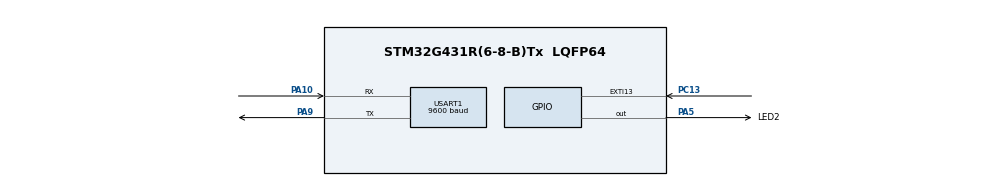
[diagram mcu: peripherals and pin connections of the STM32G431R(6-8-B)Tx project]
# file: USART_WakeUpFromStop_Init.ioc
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Mcu.Family=STM32G4
Mcu.Name=STM32G431R(6-8-B)Tx
Mcu.Package=LQFP64
NVIC.PriorityGroup=NVIC_PRIORITYGROUP_4
NVIC.USART1_IRQn=true\:0\:0\:false\:false\:true\:true\:true\:true
PA10.GPIO_PuPd=GPIO_PULLUP
PA10.GPIO_Speed=GPIO_SPEED_FREQ_HIGH
PA10.Mode=Asynchronous
PA10.Signal=USART1_RX
PA5.GPIO_Label=LED2
PA5.GPIO_PuPd=GPIO_NOPULL
PA5.Signal=GPIO_Output
PA9.GPIO_PuPd=GPIO_PULLUP
PA9.GPIO_Speed=GPIO_SPEED_FREQ_HIGH
PA9.Mode=Asynchronous
PA9.Signal=USART1_TX
PC13.Signal=GPXTI13
ProjectManager.HeapSize=0x200
ProjectManager.StackSize=0x400
ProjectManager.TargetToolchain=EWARM V8.32
RCC.ADC12Freq_Value=16000000
RCC.AHBFreq_Value=16000000
RCC.APB1Freq_Value=16000000
RCC.APB1TimFreq_Value=16000000
RCC.APB2Freq_Value=16000000
RCC.APB2TimFreq_Value=16000000
RCC.CortexFreq_Value=16000000
RCC.EXTERNAL_CLOCK_VALUE=12288000
RCC.HCLKFreq_Value=16000000
RCC.HSE_VALUE=24000000
RCC.HSI48_VALUE=48000000
RCC.HSI_VALUE=16000000
RCC.LPUART1CLockSelection=RCC_LPUART1CLKSOURCE_HSI
RCC.LSE_VALUE=32768
RCC.PLLM=RCC_PLLM_DIV4
RCC.PLLN=85
RCC.SYSCLKFreq_VALUE=16000000
RCC.UART4CLockSelection=RCC_UART4CLKSOURCE_HSI
RCC.USART1CLockSelection=RCC_USART1CLKSOURCE_HSI
RCC.USART2CLockSelection=RCC_USART2CLKSOURCE_HSI
RCC.USART3CLockSelection=RCC_USART3CLKSOURCE_HSI
RCC.USBFreq_Value=170000000
RCC.VCOOutputFreq_Value=340000000
USART1.AutoBaudRateEnableParam=UART_ADVFEATURE_AUTOBAUDRATE_DISABLE
USART1.BaudRate=9600
USART1.ClockPrescaler=PRESCALER_DIV1
USART1.DMADisableonRxErrorParam=ADVFEATURE_DMA_ENABLEONRXERROR
USART1.DataInvertParam=ADVFEATURE_DATAINV_DISABLE
USART1.FIFOMode=FIFOMODE_DISABLE
USART1.MSBFirstParam=ADVFEATURE_MSBFIRST_DISABLE
USART1.Mode=MODE_TX_RX
USART1.OneBitSampling=UART_ONE_BIT_SAMPLE_DISABLE
USART1.OverSampling=UART_OVERSAMPLING_16
USART1.OverrunDisableParam=ADVFEATURE_OVERRUN_ENABLE
USART1.Parity=PARITY_NONE
USART1.RXFIFOThreshold=RXFIFO_THRESHOLD_1EIGHTHFULL
USART1.RxPinLevelInvertParam=ADVFEATURE_RXINV_DISABLE
USART1.StopBits=STOPBITS_1
USART1.SwapParam=ADVFEATURE_SWAP_DISABLE
USART1.TXFIFOThreshold=TXFIFO_THRESHOLD_1EIGHTHFULL
USART1.TxPinLevelInvertParam=ADVFEATURE_TXINV_DISABLE
USART1.VirtualMode-Asynchronous=VM_ASYNC
USART1.WordLength=WORDLENGTH_8B
VP_SYS_VS_DBSignals.Mode=DisableDeadBatterySignals
board=custom

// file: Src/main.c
/* USER CODE BEGIN Header */
/**
  ******************************************************************************
  * @file    Examples_LL/USART/USART_WakeUpFromStop_Init/Src/main.c
  * @author  MCD Application Team
  * @brief   This example describes how to configure USART1 peripheral in Asynchronous mode
  *          for being able to wake from Stop 0 mode when a character is received on RX line using
  *          the STM32G4xx USART LL API.
  *          Peripheral initialization done using LL unitary services functions.
  ******************************************************************************
  * @attention
  *
  * <h2><center>&copy; Copyright (c) 2019 STMicroelectronics.
  * All rights reserved.</center></h2>
  *
  * This software component is licensed by ST under BSD 3-Clause license,
  * the "License"; You may not use this file except in compliance with the
  * License. You may obtain a copy of the License at:
  *                        opensource.org/licenses/BSD-3-Clause
  *
  ******************************************************************************
  */
/* USER CODE END Header */

#include "main.h"

/* USER CODE BEGIN PV */

/**
  * @brief Variables used for charcater reception from PC Com port
  */
__IO uint8_t      ubFinalCharReceived = 0;
__IO uint32_t     ubReceivedChar;

/**
  * @brief Text string printed on PC Com port to inform MCU will enter in Stop 0 Mode
  */
uint8_t aTextInfo[] = "\r\nUSART1 Example : MCU will now enter in Stop 0 mode.\n\rEnter any character for waking up MCU.\r\n";

/* USER CODE END PV */

void SystemClock_Config(void);
static void MX_GPIO_Init(void);
static void MX_USART1_UART_Init(void);
/* USER CODE BEGIN PFP */

void     LED_On(void);
void     LED_Off(void);
void     LED_Blinking(uint32_t Period);
void     LED_Blinking_3s(void);
void     Configure_PWR(void);
void     PrepareUSARTToStopMode(void);
void     EnterSTOP0Mode(void);
void     PrintInfo(void);

/* USER CODE END PFP */

int main(void)
{

  /* MCU Configuration--------------------------------------------------------*/

  /* Reset of all peripherals, Initializes the Flash interface and the Systick. */

  LL_APB2_GRP1_EnableClock(LL_APB2_GRP1_PERIPH_SYSCFG);
  LL_APB1_GRP1_EnableClock(LL_APB1_GRP1_PERIPH_PWR);

  NVIC_SetPriorityGrouping(NVIC_PRIORITYGROUP_4);

  /* System interrupt init*/

  /** Disable the internal Pull-Up in Dead Battery pins of UCPD peripheral
  */
  LL_PWR_DisableDeadBatteryPD();

  /* Configure the system clock */
  SystemClock_Config();

  /* Initialize all configured peripherals */
  MX_GPIO_Init();
  MX_USART1_UART_Init();
  /* USER CODE BEGIN 2 */

  /* Configure Power IP */
  Configure_PWR();

  /* Start main program loop :
     - make LED blink during 3 sec
     - Enter Stop 0 mode (LED turned Off)
     - Wait for any character received on USART1 RX line for waking up MCU
  */
  while (ubFinalCharReceived == 0)
  {
    /* LED blinks during 3 seconds */
    LED_Blinking_3s();

    /* Send Text Information on USART1 TX to PC Com port */
    PrintInfo();

    /* Prepare USART1 for entering Stop Mode */
    PrepareUSARTToStopMode();

    /* Enter Stop 0 mode */
    EnterSTOP0Mode();

    /* At this point, MCU just wakes up from Stop 0 mode */
  }

  /* USER CODE END 2 */

  /* Infinite loop */
  while (1)
  {

  }
}

void SystemClock_Config(void)
{
  LL_FLASH_SetLatency(LL_FLASH_LATENCY_0);

  if(LL_FLASH_GetLatency() != LL_FLASH_LATENCY_0)
  {
    Error_Handler();
  }
  LL_PWR_SetRegulVoltageScaling(LL_PWR_REGU_VOLTAGE_SCALE1);
  LL_RCC_HSI_Enable();

   /* Wait till HSI is ready */
  while(LL_RCC_HSI_IsReady() != 1)
  {

  }
  LL_RCC_HSI_SetCalibTrimming(64);
  LL_RCC_SetSysClkSource(LL_RCC_SYS_CLKSOURCE_HSI);

   /* Wait till System clock is ready */
  while(LL_RCC_GetSysClkSource() != LL_RCC_SYS_CLKSOURCE_STATUS_HSI)
  {

  }
  /* Set AHB prescaler*/
  LL_RCC_SetAHBPrescaler(LL_RCC_SYSCLK_DIV_1);
  LL_RCC_SetAPB1Prescaler(LL_RCC_APB1_DIV_1);
  LL_RCC_SetAPB2Prescaler(LL_RCC_APB1_DIV_1);

  LL_Init1msTick(16000000);

  LL_SetSystemCoreClock(16000000);
  LL_RCC_SetUSARTClockSource(LL_RCC_USART1_CLKSOURCE_HSI);
}

static void MX_USART1_UART_Init(void)
{

  LL_USART_InitTypeDef USART_InitStruct = {0};

  LL_GPIO_InitTypeDef GPIO_InitStruct = {0};

  /* Peripheral clock enable */
  LL_APB2_GRP1_EnableClock(LL_APB2_GRP1_PERIPH_USART1);

  LL_AHB2_GRP1_EnableClock(LL_AHB2_GRP1_PERIPH_GPIOA);
  /**USART1 GPIO Configuration
  PA9   ------> USART1_TX
  PA10   ------> USART1_RX
  */
  GPIO_InitStruct.Pin = LL_GPIO_PIN_9;
  GPIO_InitStruct.Mode = LL_GPIO_MODE_ALTERNATE;
  GPIO_InitStruct.Speed = LL_GPIO_SPEED_FREQ_HIGH;
  GPIO_InitStruct.OutputType = LL_GPIO_OUTPUT_PUSHPULL;
  GPIO_InitStruct.Pull = LL_GPIO_PULL_UP;
  GPIO_InitStruct.Alternate = LL_GPIO_AF_7;
  LL_GPIO_Init(GPIOA, &GPIO_InitStruct);

  GPIO_InitStruct.Pin = LL_GPIO_PIN_10;
  GPIO_InitStruct.Mode = LL_GPIO_MODE_ALTERNATE;
  GPIO_InitStruct.Speed = LL_GPIO_SPEED_FREQ_HIGH;
  GPIO_InitStruct.OutputType = LL_GPIO_OUTPUT_PUSHPULL;
  GPIO_InitStruct.Pull = LL_GPIO_PULL_UP;
  GPIO_InitStruct.Alternate = LL_GPIO_AF_7;
  LL_GPIO_Init(GPIOA, &GPIO_InitStruct);

  /* USART1 interrupt Init */
  NVIC_SetPriority(USART1_IRQn, NVIC_EncodePriority(NVIC_GetPriorityGrouping(),0, 0));
  NVIC_EnableIRQ(USART1_IRQn);

  /* USER CODE BEGIN USART1_Init 1 */
  /* Set USART1 clock source as HSI */
  LL_RCC_SetUSARTClockSource(LL_RCC_USART1_CLKSOURCE_HSI);

  /* USER CODE END USART1_Init 1 */
  USART_InitStruct.PrescalerValue = LL_USART_PRESCALER_DIV1;
  USART_InitStruct.BaudRate = 9600;
  USART_InitStruct.DataWidth = LL_USART_DATAWIDTH_8B;
  USART_InitStruct.StopBits = LL_USART_STOPBITS_1;
  USART_InitStruct.Parity = LL_USART_PARITY_NONE;
  USART_InitStruct.TransferDirection = LL_USART_DIRECTION_TX_RX;
  USART_InitStruct.HardwareFlowControl = LL_USART_HWCONTROL_NONE;
  USART_InitStruct.OverSampling = LL_USART_OVERSAMPLING_16;
  LL_USART_Init(USART1, &USART_InitStruct);
  LL_USART_SetTXFIFOThreshold(USART1, LL_USART_FIFOTHRESHOLD_1_8);
  LL_USART_SetRXFIFOThreshold(USART1, LL_USART_FIFOTHRESHOLD_1_8);
  LL_USART_DisableFIFO(USART1);
  LL_USART_ConfigAsyncMode(USART1);

  /* USER CODE BEGIN WKUPType USART1 */
  LL_USART_SetWKUPType(USART1, LL_USART_WAKEUP_ON_RXNE);
  /* USER CODE END WKUPType USART1 */

  LL_USART_Enable(USART1);

  /* Polling USART1 initialisation */
  while((!(LL_USART_IsActiveFlag_TEACK(USART1))) || (!(LL_USART_IsActiveFlag_REACK(USART1))))
  {
  }

}

static void MX_GPIO_Init(void)
{
  LL_EXTI_InitTypeDef EXTI_InitStruct = {0};
  LL_GPIO_InitTypeDef GPIO_InitStruct = {0};

  /* GPIO Ports Clock Enable */
  LL_AHB2_GRP1_EnableClock(LL_AHB2_GRP1_PERIPH_GPIOC);
  LL_AHB2_GRP1_EnableClock(LL_AHB2_GRP1_PERIPH_GPIOA);

  /**/
  LL_GPIO_ResetOutputPin(LED2_GPIO_Port, LED2_Pin);

  /**/
  LL_SYSCFG_SetEXTISource(LL_SYSCFG_EXTI_PORTC, LL_SYSCFG_EXTI_LINE13);

  /**/
  EXTI_InitStruct.Line_0_31 = LL_EXTI_LINE_13;
  EXTI_InitStruct.LineCommand = ENABLE;
  EXTI_InitStruct.Mode = LL_EXTI_MODE_IT;
  EXTI_InitStruct.Trigger = LL_EXTI_TRIGGER_RISING;
  LL_EXTI_Init(&EXTI_InitStruct);

  /**/
  LL_GPIO_SetPinPull(GPIOC, LL_GPIO_PIN_13, LL_GPIO_PULL_NO);

  /**/
  LL_GPIO_SetPinMode(GPIOC, LL_GPIO_PIN_13, LL_GPIO_MODE_INPUT);

  /**/
  GPIO_InitStruct.Pin = LED2_Pin;
  GPIO_InitStruct.Mode = LL_GPIO_MODE_OUTPUT;
  GPIO_InitStruct.Speed = LL_GPIO_SPEED_FREQ_LOW;
  GPIO_InitStruct.OutputType = LL_GPIO_OUTPUT_PUSHPULL;
  GPIO_InitStruct.Pull = LL_GPIO_PULL_NO;
  LL_GPIO_Init(LED2_GPIO_Port, &GPIO_InitStruct);

}

/* USER CODE BEGIN 4 */

/**
  * @brief  Function to configure and initialize PWR IP.
  * @param  None
  * @retval None
  */
void Configure_PWR(void)
{
  /* Enable Power Clock */
  LL_APB1_GRP1_EnableClock(LL_APB1_GRP1_PERIPH_PWR);
}

/**
  * @brief  Function to configure USART1 for being ready to enter Stop 0 mode.
  * @param  None
  * @retval None
  */
void PrepareUSARTToStopMode(void)
{

  /* Empty RX Fifo before entering Stop 0 mode (Otherwise, characters already present in FIFO
     will lead to immediate wake up */
  while (LL_USART_IsActiveFlag_RXNE(USART1))
  {
    /* Read Received character. RXNE flag is cleared by reading of RDR register */
    ubReceivedChar = LL_USART_ReceiveData8(USART1);
  }

  /* Clear OVERRUN flag */
  LL_USART_ClearFlag_ORE(USART1);

  /* Make sure that no USART1 transfer is on-going */
  while (LL_USART_IsActiveFlag_BUSY(USART1) == 1)
  {
  }
  /* Make sure that USART1 is ready to receive */
  while (LL_USART_IsActiveFlag_REACK(USART1) == 0)
  {
  }

  /* About to enter stop mode: switch off LED */
  LED_Off();

  /* Configure USART1 transfer interrupts : */
  /* Clear WUF flag and enable the UART Wake Up from stop mode Interrupt */
  LL_USART_ClearFlag_WKUP(USART1);
  LL_USART_EnableIT_WKUP(USART1);

  /* Enable Wake Up From Stop */
  LL_USART_EnableInStopMode(USART1);
}

/**
  * @brief  Function to enter in Stop 0 mode.
  * @param  None
  * @retval None
  */
void EnterSTOP0Mode(void)
{
  /** Request to enter Stop 0 mode
    * Following procedure describe in STM32G4xx Reference Manual
    * See PWR part, section Low-power modes, Stop 0 mode
    */

  /* Set SLEEPDEEP bit of Cortex System Control Register */
  LL_LPM_EnableDeepSleep();

  /* Request Wait For Interrupt */
  __WFI();
}

/**
  * @brief  Send Txt information message on USART1 Tx line (to PC Com port).
  * @param  None
  * @retval None
  */
void PrintInfo(void)
{
  uint32_t index = 0;

  /* Send characters one per one, until last char to be sent */
  for (index = 0; index < sizeof(aTextInfo); index++)
  {
    /* Wait for TXE flag to be raised */
    while (!LL_USART_IsActiveFlag_TXE(USART1))
    {
    }

    /* Write character in Transmit Data register.
       TXE flag is cleared by writing data in TDR register */
    LL_USART_TransmitData8(USART1, aTextInfo[index]);
  }

  /* Wait for TC flag to be raised for last char */
  while (!LL_USART_IsActiveFlag_TC(USART1))
  {
  }
}

/**
  * @brief  Turn-on LED2.
  * @param  None
  * @retval None
  */
void LED_On(void)
{
  /* Turn LED2 on */
  LL_GPIO_SetOutputPin(LED2_GPIO_Port, LED2_Pin);
}

/**
  * @brief  Turn-off LED2.
  * @param  None
  * @retval None
  */
void LED_Off(void)
{
  /* Turn LED2 off */
  LL_GPIO_ResetOutputPin(LED2_GPIO_Port, LED2_Pin);
}

/**
  * @brief  Set LED2 to Blinking mode for an infinite loop (toggle period based on value provided as input parameter).
  * @param  Period : Period of time (in ms) between each toggling of LED
  *   This parameter can be user defined values. Pre-defined values used in that example are :
  *     @arg LED_BLINK_FAST : Fast Blinking
  *     @arg LED_BLINK_SLOW : Slow Blinking
  *     @arg LED_BLINK_ERROR : Error specific Blinking
  * @retval None
  */
void LED_Blinking(uint32_t Period)
{
  /* Toggle IO in an infinite loop */
  while (1)
  {
    LL_GPIO_TogglePin(LED2_GPIO_Port, LED2_Pin);
    LL_mDelay(Period);
  }
}

/**
  * @brief  Set LED2 to Blinking mode during 3s.
  * @param  None
  * @retval None
  */
void LED_Blinking_3s(void)
{
  uint32_t index = 0;

  /* Toggle IO in during 3s (15*200ms) */
  for (index = 0; index < 15; index++)
  {
    LL_GPIO_TogglePin(LED2_GPIO_Port, LED2_Pin);
    LL_mDelay(200);
  }
}

/******************************************************************************/
/*   IRQ HANDLER TREATMENT Functions                                          */
/******************************************************************************/

/**
  * @brief  Function called from USART1 IRQ Handler when RXNE flag is set
  *         Function is in charge of reading character received on USART1 RX line.
  * @param  None
  * @retval None
  */
void USART1_CharReception_Callback(void)
{
  /* Read Received character. RXNE flag is cleared by reading of RDR register */
  ubReceivedChar = LL_USART_ReceiveData8(USART1);

  /* Check if received value is corresponding to specific one : S or s */
  if ((ubReceivedChar == 'S') || (ubReceivedChar == 's'))
  {
    /* Turn LED2 On : Expected character has been received */
    LED_On();

    /* End of program : set boolean for main loop exit */
    ubFinalCharReceived = 1;
  }

  /* Echo received character on TX */
  LL_USART_TransmitData8(USART1, ubReceivedChar);
}

/**
  * @brief  Function called in case of error detected in USART IT Handler
  * @param  None
  * @retval None
  */
void Error_Callback(void)
{
  /* Disable USART1_IRQn */
  NVIC_DisableIRQ(USART1_IRQn);

  /* Unexpected event : Set LED2 to Blinking mode to indicate error occurs */
  LED_Blinking(LED_BLINK_ERROR);
}

/* USER CODE END 4 */

void Error_Handler(void)
{
}

/************************ (C) COPYRIGHT STMicroelectronics *****END OF FILE****/
